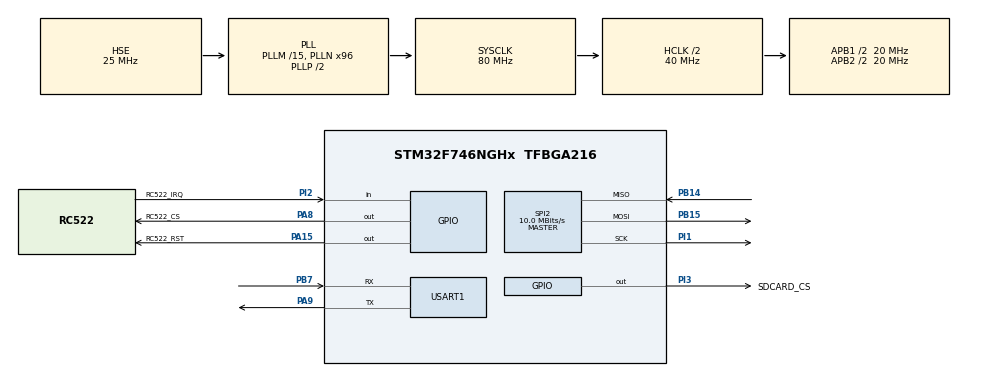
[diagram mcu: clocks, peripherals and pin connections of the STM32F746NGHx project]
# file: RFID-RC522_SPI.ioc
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CORTEX_M7.ART_ACCELERATOR_ENABLE=0
CORTEX_M7.CPU_DCache=Disabled
CORTEX_M7.CPU_ICache=Disabled
CORTEX_M7.PREFETCH_ENABLE=0
FATFS._MAX_SS=4096
FATFS._USE_LFN=1
Mcu.Family=STM32F7
Mcu.Name=STM32F746NGHx
Mcu.Package=TFBGA216
NVIC.PriorityGroup=NVIC_PRIORITYGROUP_4
PA13.Mode=Serial_Wire
PA13.Signal=SYS_JTMS-SWDIO
PA14.Mode=Serial_Wire
PA14.Signal=SYS_JTCK-SWCLK
PA15.GPIO_Label=RC522_RST
PA15.PinState=GPIO_PIN_SET
PA15.Signal=GPIO_Output
PA8.GPIO_Label=RC522_CS
PA8.GPIO_Speed=GPIO_SPEED_FREQ_MEDIUM
PA8.PinState=GPIO_PIN_SET
PA8.Signal=GPIO_Output
PA9.Mode=Asynchronous
PA9.Signal=USART1_TX
PB14.Mode=Full_Duplex_Master
PB14.Signal=SPI2_MISO
PB15.Mode=Full_Duplex_Master
PB15.Signal=SPI2_MOSI
PB7.Mode=Asynchronous
PB7.Signal=USART1_RX
PH0/OSC_IN.Mode=HSE-External-Oscillator
PH0/OSC_IN.Signal=RCC_OSC_IN
PH1/OSC_OUT.Mode=HSE-External-Oscillator
PH1/OSC_OUT.Signal=RCC_OSC_OUT
PI1.Mode=Full_Duplex_Master
PI1.Signal=SPI2_SCK
PI2.GPIO_Label=RC522_IRQ
PI2.Signal=GPIO_Input
PI3.GPIO_Label=SDCARD_CS
PI3.GPIO_Speed=GPIO_SPEED_FREQ_MEDIUM
PI3.PinState=GPIO_PIN_SET
PI3.Signal=GPIO_Output
ProjectManager.HeapSize=0x200
ProjectManager.StackSize=0x400
ProjectManager.TargetToolchain=STM32CubeIDE
RCC.AHBCLKDivider=RCC_SYSCLK_DIV2
RCC.AHBFreq_Value=40000000
RCC.APB1CLKDivider=RCC_HCLK_DIV2
RCC.APB1Freq_Value=20000000
RCC.APB1TimFreq_Value=40000000
RCC.APB2CLKDivider=RCC_HCLK_DIV2
RCC.APB2Freq_Value=20000000
RCC.APB2TimFreq_Value=40000000
RCC.CortexFreq_Value=40000000
RCC.HCLKFreq_Value=40000000
RCC.HSE_VALUE=25000000
RCC.HSI_VALUE=16000000
RCC.LSE_VALUE=32768
RCC.PLLI2SN=96
RCC.PLLM=15
RCC.PLLN=96
RCC.PLLSourceVirtual=RCC_PLLSOURCE_HSE
RCC.SYSCLKFreq_VALUE=80000000
RCC.SYSCLKSource=RCC_SYSCLKSOURCE_PLLCLK
RCC.USBFreq_Value=80000000
RCC.VCOOutputFreq_Value=160000000
SPI2.BaudRatePrescaler=SPI_BAUDRATEPRESCALER_2
SPI2.CalculateBaudRate=10.0 MBits/s
SPI2.DataSize=SPI_DATASIZE_8BIT
SPI2.Direction=SPI_DIRECTION_2LINES
SPI2.Mode=SPI_MODE_MASTER
SPI2.VirtualType=VM_MASTER
USART1.VirtualMode-Asynchronous=VM_ASYNC
VP_CRC_VS_CRC.Mode=CRC_Activate
VP_DMA2D_VS_DMA2D.Mode=DMA2D_Activate
VP_FATFS_VS_Generic.Mode=User_defined
board=STM32F746G-DISCO

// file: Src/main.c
/* USER CODE BEGIN Header */
/**
  ******************************************************************************
  * @file           : main.c
  * @brief          : Main program body
  ******************************************************************************
  * @attention
  *
  * Copyright (c) 2023 STMicroelectronics.
  * All rights reserved.
  *
  * This software is licensed under terms that can be found in the LICENSE file
  * in the root directory of this software component.
  * If no LICENSE file comes with this software, it is provided AS-IS.
  *
  ******************************************************************************
  */
/* USER CODE END Header */
#include "main.h"
#include "crc.h"
#include "dma2d.h"
#include "fatfs.h"
#include "spi.h"
#include "usart.h"
#include "gpio.h"

/* USER CODE BEGIN Includes */
#include "rc522.h"
/* USER CODE END Includes */

/* USER CODE BEGIN PTD */
typedef enum
{
  STAT_KEY_NOT_TRUE = 0x00,
  STAT_KEY_A_OK = 0x01,
  STAT_KEY_B_OK = 0x02
} StatusAuthenticate;
/* USER CODE END PTD */

/* USER CODE BEGIN PD */
#define PICC_MEMORY_SIZE 1024
#define PICC_MEMORY_BLOCK_SIZE 16
#define PICC_MEMORY_BLOCKS (PICC_MEMORY_SIZE / PICC_MEMORY_BLOCK_SIZE)

#define USE_TEST1 0 // Check firmware RC522
#define USE_TEST2 0 // Dump Uid, SAK and Type
#define USE_TEST3 0 // Dump full data to serial
#define USE_TEST4 0 // Change Uid
#define USE_TEST5 0 // Fix a broken Uid
#define USE_TEST6 0 // Setup blocks on a MIFARE Classic
#define USE_TEST7 1 // RFID-Cloner
#define USE_TEST8 0 // Read and Write
#define USE_TEST9 0 // Write personal data
#define USE_TEST10 0 // Read personal data
/* USER CODE END PD */

/* USER CODE BEGIN PV */
// Known keys, see: https://code.google.com/p/mfcuk/wiki/MifareClassicDefaultKeys
const uint8_t knownKeys[][MF_KEY_SIZE] =  {
  {0xFF, 0xFF, 0xFF, 0xFF, 0xFF, 0xFF}, // FF FF FF FF FF FF = factory default
  {0xA0, 0xA1, 0xA2, 0xA3, 0xA4, 0xA5}, // A0 A1 A2 A3 A4 A5
  {0xB0, 0xB1, 0xB2, 0xB3, 0xB4, 0xB5}, // B0 B1 B2 B3 B4 B5
  {0x4D, 0x3A, 0x99, 0xC3, 0x51, 0xDD}, // 4D 3A 99 C3 51 DD
  {0x1A, 0x98, 0x2C, 0x7E, 0x45, 0x9A}, // 1A 98 2C 7E 45 9A
  {0xD3, 0xF7, 0xD3, 0xF7, 0xD3, 0xF7}, // D3 F7 D3 F7 D3 F7
  {0xAA, 0xBB, 0xCC, 0xDD, 0xEE, 0xFF}, // AA BB CC DD EE FF
  {0x00, 0x00, 0x00, 0x00, 0x00, 0x00}, // 00 00 00 00 00 00
  {0xE5, 0x6A, 0xC1, 0x27, 0xDD, 0x45}, // E5 6A C1 27 DD 45
  {0x19, 0xFC, 0x84, 0xA3, 0x78, 0x4B}, // 19 FC 84 A3 78 4B
  {0x77, 0xDA, 0xBC, 0x98, 0x25, 0xE1}, // 77 DA BC 98 25 E1
  {0x26, 0x97, 0x3E, 0xA7, 0x43, 0x21}, // 26 97 3E A7 43 21
  {0xEB, 0x0A, 0x8F, 0xF8, 0x8A, 0xDE}, // EB 0A 8F F8 8A DE
  {0xEA, 0x0F, 0xD7, 0x3C, 0xB1, 0x49}, // EA 0F D7 3C B1 49
  {0xC7, 0x6B, 0xF7, 0x1A, 0x25, 0x09}, // C7 6B F7 1A 25 09
  {0xAC, 0xFF, 0xFF, 0xFF, 0xFF, 0xFF}, // AC FF FF FF FF FF
  {0x71, 0xF3, 0xA3, 0x15, 0xAD, 0x26}, // 71 F3 A3 15 AD 26
  {0x72, 0xF9, 0x6B, 0xDD, 0x37, 0x14}, // 72 F9 6B DD 37 14
  {0x04, 0x4C, 0xE1, 0x87, 0x2B, 0xC3}, // 04 4C E1 87 2B C3
  {0xBC, 0x2D, 0x17, 0x91, 0xDE, 0xC1}, // BC 2D 17 91 DE C1
  {0x87, 0x91, 0xB2, 0xCC, 0xB5, 0xC4}, // 87 91 B2 CC B5 C4
  {0x8E, 0x26, 0xE4, 0x5E, 0x7D, 0x65}, // 8E 26 E4 5E 7D 65
  {0x0F, 0x31, 0x81, 0x30, 0xED, 0x18}, // 0F 31 81 30 ED 18
  {0x04, 0x5C, 0xEC, 0xA1, 0x55, 0x35}, // 04 5C EC A1 55 35
  {0x9D, 0x99, 0x3C, 0x5D, 0x4E, 0xF4}, // 9D 99 3C 5D 4E F4
  {0xC6, 0x5D, 0x4E, 0xAA, 0x64, 0x5B}, // C6 5D 4E AA 64 5B
  {0x3A, 0x8A, 0x13, 0x9C, 0x20, 0xB4}, // 3A 8A 13 9C 20 B4
  {0xBA, 0xFF, 0x30, 0x53, 0xB4, 0x96}, // BA FF 30 53 B4 96
  {0x74, 0x13, 0xB5, 0x99, 0xC4, 0xEA}, // 74 13 B5 99 C4 EA
  {0x0C, 0xE7, 0xCD, 0x2C, 0xC7, 0x2B}, // 0C E7 CD 2C C7 2B
  {0x0B, 0xE5, 0xFA, 0xC8, 0xB0, 0x6A}, // 0B E5 FA C8 B0 6A
  {0x0E, 0xB2, 0x3C, 0xC8, 0x11, 0x0B}, // 0E B2 3C C8 11 0B
  {0xBC, 0x45, 0x80, 0xB7, 0xF2, 0x0B}, // BC 45 80 B7 F2 0B
  {0x7A, 0x39, 0x6F, 0x0D, 0x63, 0x3D}, // 7A 39 6F 0D 63 3D
  {0xA3, 0xFA, 0xA6, 0xDA, 0xFF, 0x67}, // A3 FA A6 DA FF 67
  {0xFD, 0x87, 0x05, 0xE7, 0x21, 0xB0}, // FD 87 05 E7 21 B0
  {0x22, 0x05, 0x2B, 0x48, 0x0D, 0x11}, // 22 05 2B 48 0D 11
  {0xA7, 0x14, 0x11, 0x47, 0xD4, 0x30}, // A7 14 11 47 D4 30
  {0x8A, 0x8D, 0x88, 0x15, 0x1A, 0x00}, // 8A 8D 88 15 1A 00
  {0xB2, 0x7A, 0xDD, 0xFB, 0x64, 0xB0}, // B2 7A DD FB 64 B0
  {0x72, 0x59, 0xFA, 0x01, 0x97, 0xC6}  // 72 59 FA 01 97 C6
};
/* USER CODE END PV */

void SystemClock_Config(void);
/* USER CODE BEGIN PFP */
void CheckFirmwareRC522(void);
void Test2_ReadDataFromPiccToSerial(void);
void Test3_ReadFullDataFromPiccToSerial(void);
void PrintUidAndType(void);
void Test4_ChangeUid(const MIFARE_Key *key);
void Test5_FixABrokenUid(void);
void Test6_SetupBlocksOnMIFARE(const MIFARE_Key *key);
void DumpByteArrayHEX(uint8_t *buffer, size_t bufferSize);
void FormatValueBlock(uint8_t blockAddr);
void Test7_RFID_Cloner(void);
void ReadCard(uint8_t dataValue[PICC_MEMORY_BLOCKS][PICC_MEMORY_BLOCK_SIZE]);
void TestValuesInBlocks(uint8_t dataValue[PICC_MEMORY_BLOCKS][PICC_MEMORY_BLOCK_SIZE]);
void CopyDataInTheNewCard(uint8_t dataValue[PICC_MEMORY_BLOCKS][PICC_MEMORY_BLOCK_SIZE]);
void Test8_ReadAndWrite(MIFARE_Key *key);
void Test9_WritePersonalData(MIFARE_Key *key);
void Test10_ReadPersonalData(MIFARE_Key *key);
/* USER CODE END PFP */

int main(void)
{

  /* MCU Configuration--------------------------------------------------------*/

  /* Reset of all peripherals, Initializes the Flash interface and the Systick. */
  HAL_Init();

  /* Configure the system clock */
  SystemClock_Config();

  /* Initialize all configured peripherals */
  MX_GPIO_Init();
  MX_DMA2D_Init();
  MX_CRC_Init();
  MX_USART1_UART_Init();
  MX_SPI2_Init();
  MX_FATFS_Init();
  /* USER CODE BEGIN 2 */
  const bool isInitRC522Ok = RC522_Init();
  MIFARE_Key key;

  if (isInitRC522Ok)
  {
#if USE_TEST1
    CheckFirmwareRC522();
#endif // USE_TEST1

#if USE_TEST2
    RC522_DumpVersionToSerial(); // Show details of PCD - MFRC522 Card Reader details.
    println("Scan PICC to see UID, SAK, and type");
#endif // USE_TEST2

#if USE_TEST3
    RC522_DumpVersionToSerial(); // Show details of PCD - MFRC522 Card Reader details.
    println("Scan PICC to see UID, SAK, type, and data blocks...");
#endif // USE_TEST3

#if USE_TEST4 || USE_TEST5
    // I had no success with this tests.
    // I haven't a card that allows to overwrite the UID
    println("Warning: this example overwrites the UID of your UID changeable card, use with care!");
    println("This example only works with MIFARE Classic cards.");

    // Prepare key - all keys are set to FFFFFFFFFFFFh at chip delivery from the factory.
    for (size_t i = 0; i < MF_KEY_SIZE; i++)
    {
      key.keyByte[i] = 0xFF;
    }
#endif // USE_TEST4 || USE_TEST5

#if USE_TEST6
    // Prepare key - all keys are set to FFFFFFFFFFFFh at chip delivery from the factory.
    for (size_t i = 0; i < MF_KEY_SIZE; i++)
    {
      key.keyByte[i] = 0xFF;
    }

    println("Scan a MIFARE Classic PICC to demonstrate Value Block mode.");
    printf("Using key (for A and B):");
    DumpByteArrayHEX(key.keyByte, MF_KEY_SIZE);
    println(NULL);

    println("BEWARE: Data will be written to the PICC, in sector #1");
#endif // USE_TEST6

#if USE_TEST7
    println("Try the most used default keys to print block 0 to 63 of a MIFARE PICC.");
    println("1.Read card \r\n2.View buffer \r\n3.Copy the data.");
#endif // USE_TEST7

#if USE_TEST8
    // Prepare key - all keys are set to FFFFFFFFFFFFh at chip delivery from the factory.
    for (size_t i = 0; i < MF_KEY_SIZE; i++)
    {
      key.keyByte[i] = 0xFF;
    }

    println("Scan a MIFARE Classic PICC to demonstrate read and write.");
    printf("Using key(for A and B) :");
    DumpByteArrayHEX(key.keyByte, MF_KEY_SIZE);
    println(NULL);
    println("BEWARE: Data will be written to the PICC, in sector #1");
#endif // USE_TEST8

#if USE_TEST9
    // Prepare key - all keys are set to FFFFFFFFFFFFh at chip delivery from the factory.
    for (size_t i = 0; i < MF_KEY_SIZE; i++)
    {
      key.keyByte[i] = 0xFF;
    }

    println("Write personal data on a MIFARE PICC:");
#endif // USE_TEST9

#if USE_TEST10
    // Prepare key - all keys are set to FFFFFFFFFFFFh at chip delivery from the factory.
    for (size_t i = 0; i < MF_KEY_SIZE; i++)
    {
      key.keyByte[i] = 0xFF;
    }

    println("Read personal data on a MIFARE PICC:");
#endif // USE_TEST10
  }
  /* USER CODE END 2 */

  /* Infinite loop */
  /* USER CODE BEGIN WHILE */
  while (1)
  {
    if (isInitRC522Ok)
    {
#if USE_TEST2
      Test2_ReadDataFromPiccToSerial();
#endif // USE_TEST2

#if USE_TEST3
      Test3_ReadFullDataFromPiccToSerial();
#endif // USE_TEST3

#if USE_TEST4
      Test4_ChangeUid(&key);
#endif // USE_TEST4

#if USE_TEST5
      Test5_FixABrokenUid();
#endif // USE_TEST5

#if USE_TEST6
      Test6_SetupBlocksOnMIFARE(&key);
#endif // USE_TEST6

#if USE_TEST7
      Test7_RFID_Cloner();
#endif // USE_TEST7

#if USE_TEST8
      Test8_ReadAndWrite(&key);
#endif // USE_TEST8

#if USE_TEST9
      Test9_WritePersonalData(&key);
#endif // USE_TEST9

#if USE_TEST10
      Test10_ReadPersonalData(&key);
#endif // USE_TEST10
    }
    /* USER CODE END WHILE */

  }
}

void SystemClock_Config(void)
{
  RCC_OscInitTypeDef RCC_OscInitStruct = {0};
  RCC_ClkInitTypeDef RCC_ClkInitStruct = {0};

  /** Configure the main internal regulator output voltage
  */
  __HAL_RCC_PWR_CLK_ENABLE();
  __HAL_PWR_VOLTAGESCALING_CONFIG(PWR_REGULATOR_VOLTAGE_SCALE3);

  /** Initializes the RCC Oscillators according to the specified parameters
  * in the RCC_OscInitTypeDef structure.
  */
  RCC_OscInitStruct.OscillatorType = RCC_OSCILLATORTYPE_HSE;
  RCC_OscInitStruct.HSEState = RCC_HSE_ON;
  RCC_OscInitStruct.PLL.PLLState = RCC_PLL_ON;
  RCC_OscInitStruct.PLL.PLLSource = RCC_PLLSOURCE_HSE;
  RCC_OscInitStruct.PLL.PLLM = 15;
  RCC_OscInitStruct.PLL.PLLN = 96;
  RCC_OscInitStruct.PLL.PLLP = RCC_PLLP_DIV2;
  RCC_OscInitStruct.PLL.PLLQ = 2;
  if (HAL_RCC_OscConfig(&RCC_OscInitStruct) != HAL_OK)
  {
    Error_Handler();
  }

  /** Initializes the CPU, AHB and APB buses clocks
  */
  RCC_ClkInitStruct.ClockType = RCC_CLOCKTYPE_HCLK|RCC_CLOCKTYPE_SYSCLK
                              |RCC_CLOCKTYPE_PCLK1|RCC_CLOCKTYPE_PCLK2;
  RCC_ClkInitStruct.SYSCLKSource = RCC_SYSCLKSOURCE_PLLCLK;
  RCC_ClkInitStruct.AHBCLKDivider = RCC_SYSCLK_DIV2;
  RCC_ClkInitStruct.APB1CLKDivider = RCC_HCLK_DIV2;
  RCC_ClkInitStruct.APB2CLKDivider = RCC_HCLK_DIV2;

  if (HAL_RCC_ClockConfig(&RCC_ClkInitStruct, FLASH_LATENCY_1) != HAL_OK)
  {
    Error_Handler();
  }
}

/* USER CODE BEGIN 4 */

/**
  * @brief Example to test your firmware.
  *
  * This example test the firmware of your MFRC522 reader module, only known version
  * can be checked. If the test passed it do not mean that your module is faultless!
  * Some modules have bad or broken antennas or the PICC is broken.
  */
void CheckFirmwareRC522(void)
{
  println("*****************************");
  println("MFRC522 Digital self test");
  println("*****************************");
  RC522_DumpVersionToSerial(); // Show version of PCD - MFRC522 Card Reader
  println("-----------------------------");
  println("Only known versions supported");
  println("-----------------------------");
  println("Performing test...");
  const bool result = RC522_PerformSelfTest(); // perform the test
  println("-----------------------------");
  printf("Result: ");
  println((result) ? "OK" : "DEFECT or UNKNOWN");
}

/**
  * @brief Example showing how to read data from a PICC to serial.
  *
  * Example program showing how to read data from a PICC (that is: a RFID Tag or Card)
  * using a MFRC522 based RFID Reader.
  *
  * When you present a PICC (that is: a RFID Tag or Card) at reading distance of
  * the MFRC522 Reader, the serial output will show the ID/UID, type and any data
  * blocks it can read. Note: you may see "Timeout in communication" messages when
  * removing the PICC from reading distance too early.
  *
  * If your reader supports it, this program will read all the PICCs presented
  * (that is: multiple tag reading). So if you stack two or more PICCs on top of
  * each other and present them to the reader, it will first output all details of
  * the first and then the next PICC. Note that this may take some time as all data
  * blocks are dumped, so keep the PICCs at reading distance until complete.
  */
void Test2_ReadDataFromPiccToSerial(void)
{
  if (RC522_PICC_IsNewCardPresent() && RC522_PICC_ReadCardUid())
  {
    PrintUidAndType();
  }
}

void Test3_ReadFullDataFromPiccToSerial(void)
{
  if (RC522_PICC_IsNewCardPresent() && RC522_PICC_ReadCardUid())
  {
    RC522_PICC_DumpToSerial();
  }
}

/**
  * @brief Example showing how to read data from PICC to serial.
  */
void PrintUidAndType(void)
{
  RC522_PICC_DumpDetailsToSerial();

  // Halt PICC.
  RC522_PICC_HaltA();
  // Stop encryption on PCD.
  RC522_StopCrypto1();
}

/**
  * @brief Example to change UID of changeable MIFARE card.
  *
  * This sample shows how to set the UID on a UID changeable MIFARE card.
  */
void Test4_ChangeUid(const MIFARE_Key *key)
{
  /* Set your new UID here! */
  const uint8_t newUid[] = { 0xDE, 0xAD, 0xBE, 0xEF };

  // Reset the loop if no new card present on the sensor/reader.
  // This saves the entire process when idle. And if present, select one.
  if (!RC522_PICC_IsNewCardPresent() || !RC522_PICC_ReadCardUid())
  {
    return;
  }

  // Dump UID.
  printf("Card UID:");
  RC522_PrintUID();
  println(NULL);

  // Set new UID.
  if (RC522_MIFARE_SetUid(newUid, sizeof(newUid), key, true))
  {
    println("Wrote new UID to card.");
  }

  // Halt PICC and re-select it so DumpToSerial doesn't get confused.
  RC522_PICC_HaltA();
  if (!RC522_PICC_IsNewCardPresent() || !RC522_PICC_ReadCardUid())
  {
    return;
  }

  // Dump the new memory contents.
  println("New UID and contents:");
  RC522_PICC_DumpToSerial();

  HAL_Delay(2000);
}

/**
  * @brief Example to fix a broken UID changeable MIFARE cards.
  *
  * This sample shows how to fix a broken UID changeable MIFARE cards that have a corrupted sector 0.
  */
void Test5_FixABrokenUid(void)
{
  // Reset the loop if no new card present on the sensor/reader.
  // This saves the entire process when idle. And if present, select one.
  if (!RC522_PICC_IsNewCardPresent() || !RC522_PICC_ReadCardUid())
  {
    return;
  }

  if (RC522_MIFARE_UnbrickUidSector())
  {
    println("Cleared sector 0, set UID to 1234. Card should be responsive again now.");
  }
  HAL_Delay(1000);
}

/**
* This sample shows how to setup blocks on a MIFARE Classic PICC(= card / tag)
* to be in "Value Block" mode : in this mode the operations Increment / Decrement,
* Restore and Transfer can be used.
*
* BEWARE : Data will be written to the PICC, in sector # 1(blocks # 4 to # 7).
*/
void Test6_SetupBlocksOnMIFARE(const MIFARE_Key *key)
{
  // Reset the loop if no new card present on the sensor/reader.
  // This saves the entire process when idle. And if present, select one.
  if (!RC522_PICC_IsNewCardPresent() || !RC522_PICC_ReadCardUid())
  {
    return;
  }

  // Show some details of the PICC (that is: the tag/card)
  printf("Card UID:");
  RC522_PrintUID();
  println(NULL);
  const PICC_Type piccType = RC522_PICC_GetType();
  printf("PICC type: ");
  println(RC522_PICC_GetTypeName(piccType));

  // Check for compatibility
  if (piccType != PICC_TYPE_MIFARE_MINI
      &&  piccType != PICC_TYPE_MIFARE_1K
      &&  piccType != PICC_TYPE_MIFARE_4K)
  {
    println("This sample only works with MIFARE Classic cards.");
    return;
  }

  // In this sample we use the second sector,
  // that is: sector #1, covering block #4 up to and including block #7
  const uint8_t sector         = 1;
  const uint8_t valueBlockA    = 5;
  const uint8_t valueBlockB    = 6;
  const uint8_t trailerBlock   = 7;

  println("Authenticating using key A...");
  StatusCode status = RC522_Authenticate(PICC_CMD_MF_AUTH_KEY_A, trailerBlock, key);
  if (status != STAT_OK)
  {
    printf("RC522_Authenticate() failed: ");
    println(RC522_GetStatusCodeName(status));
    return;
  }

  // Show the whole sector as it currently is
  println("Current data in sector:");
  RC522_PICC_DumpMifareClassicSectorToSerial(key, sector);
  println(NULL);

  // We need a sector trailer that defines blocks 5 and 6 as Value Blocks and enables key B
  // The last block in a sector (block #3 for Mifare Classic 1K) is the Sector Trailer.
  // See http://www.nxp.com/documents/data_sheet/MF1S503x.pdf sections 8.6 and 8.7:
  //      Bytes 0-5:   Key A
  //      Bytes 6-8:   Access Bits
  //      Bytes 9:     User data
  //      Bytes 10-15: Key B (or user data)
  uint8_t trailerBuffer[] = {
        255, 255, 255, 255, 255, 255,       // Keep default key A
        0, 0, 0,
        0,
        255, 255, 255, 255, 255, 255};      // Keep default key B
// The access bits are stored in a peculiar fashion.
// There are four groups:
//      g[0]    Access bits for block 0 (for sectors 0-31)
//              or blocks 0-4 (for sectors 32-39)
//      g[1]    Access bits for block 1 (for sectors 0-31)
//              or blocks 5-9 (for sectors 32-39)
//      g[2]    Access bits for block 2 (for sectors 0-31)
//              or blocks 10-14 (for sectors 32-39)
//      g[3]    Access bits for the Sector Trailer: block 3 (for sectors 0-31)
//              or block 15 (for sectors 32-39)
// Each group has access bits [C1 C2 C3], in this code C1 is MSB and C3 is LSB.
// Determine the bit pattern needed using MIFARE_SetAccessBits:
//      g0=0    access bits for block 0 (of this sector) using [0 0 0] = 000b = 0
//              which means key A|B have r/w for block 0 of this sector
//              which (in this example) translates to block #4 within sector #1;
//              this is the transport configuration (at factory delivery).
//      g1=6    access bits for block 1 (of this sector) using [1 1 0] = 110b = 6
//              which means block 1 (of this sector) is used as a value block,
//              which (in this example) translates to block #5 within sector #1;
//              where key A|B have r, key B has w, key B can increment,
//              and key A|B can decrement, transfer, and restore.
//      g2=6    same thing for block 2 (of this sector): set it to a value block;
//              which (in this example) translates to block #6 within sector #1;
//      g3=3    access bits for block 3 (of this sector): the Sector Trailer here;
//              using [0 1 1] = 011b = 3 which means only key B has r/w access
//              to the Sector Trailer (block 3 of this sector) from now on
//              which (in this example) translates to block #7 within sector #1;
  RC522_MIFARE_CalculateAccessBits(&trailerBuffer[6], 0, 6, 6, 3);

  // Read the sector trailer as it is currently stored on the PICC
  println("Reading sector trailer...");
  uint8_t buffer[18];
  uint8_t size = sizeof(buffer);
  status = RC522_MIFARE_Read(trailerBlock, buffer, &size);
  if (status != STAT_OK)
  {
    printf("RC522_MIFARE_Read() failed: ");
    println(RC522_GetStatusCodeName(status));
    return;
  }
  // Check if it matches the desired access pattern already;
  // because if it does, we don't need to write it again...
  if (buffer[6] != trailerBuffer[6]
      ||  buffer[7] != trailerBuffer[7]
      ||  buffer[8] != trailerBuffer[8])
  {
    // They don't match (yet), so write it to the PICC
    println("Writing new sector trailer...");
    status = RC522_MIFARE_Write(trailerBlock, trailerBuffer, PICC_MEMORY_BLOCK_SIZE);
    if (status != STAT_OK)
    {
      printf("RC522_MIFARE_Write() failed: ");
      println(RC522_GetStatusCodeName(status));
      return;
    }
  }

  println("Authenticating again using key B...");
  status = RC522_Authenticate(PICC_CMD_MF_AUTH_KEY_B, trailerBlock, key);
  if (status != STAT_OK)
  {
    printf("RC522_Authenticate() failed: ");
    println(RC522_GetStatusCodeName(status));
    return;
  }

  // A value block has a 32 bit signed value stored three times
  // and an 8 bit address stored 4 times. Make sure that valueBlockA
  // and valueBlockB have that format (note that it will only format
  // the block when it doesn't comply to the expected format already).
  FormatValueBlock(valueBlockA);
  FormatValueBlock(valueBlockB);

  // Add 1 to the value of valueBlockA and store the result in valueBlockA.
  println("Adding 1 to value of block %u", valueBlockA);
  status = RC522_MIFARE_Increment(valueBlockA, 1);
  if (status != STAT_OK)
  {
    printf("RC522_MIFARE_Increment() failed: ");
    println(RC522_GetStatusCodeName(status));
    return;
  }
  status = RC522_MIFARE_Transfer(valueBlockA);
  if (status != STAT_OK)
  {
    printf("RC522_MIFARE_Transfer() failed: ");
    println(RC522_GetStatusCodeName(status));
    return;
  }
  // Show the new value of valueBlockA
  int32_t value;
  status = RC522_MIFARE_GetValue(valueBlockA, &value);
  if (status != STAT_OK)
  {
    printf("RC522_MIFARE_GetValue() failed: ");
    println(RC522_GetStatusCodeName(status));
    return;
  }
  println("New value of value block %u = %li", valueBlockA, value);

  // Decrement 10 from the value of valueBlockB and store the result in valueBlockB.
  println("Subtracting 10 from value of block %u", valueBlockB);
  status = RC522_MIFARE_Decrement(valueBlockB, 10);
  if (status != STAT_OK)
  {
    printf("RC522_MIFARE_Decrement() failed: ");
    println(RC522_GetStatusCodeName(status));
    return;
  }
  status = RC522_MIFARE_Transfer(valueBlockB);
  if (status != STAT_OK)
  {
    printf("RC522_MIFARE_Transfer() failed: ");
    println(RC522_GetStatusCodeName(status));
    return;
  }
  // Show the new value of valueBlockB
  status = RC522_MIFARE_GetValue(valueBlockB, &value);
  if (status != STAT_OK)
  {
    printf("RC522_MIFARE_GetValue() failed: ");
    println(RC522_GetStatusCodeName(status));
    return;
  }
  println("New value of value block %u = %li", valueBlockB, value);
  // Check some boundary...
  if (value <= -100)
  {
    println("Below -100, so resetting it to 255 = 0xFF just for fun...");
    status = RC522_MIFARE_SetValue(valueBlockB, 255);
    if (status != STAT_OK)
    {
      printf("RC522_MIFARE_SetValue() failed: ");
      println(RC522_GetStatusCodeName(status));
      return;
    }
  }

  // Dump the sector data
  RC522_PICC_DumpMifareClassicSectorToSerial(key, sector);
  println(NULL);

  // Halt PICC
  RC522_PICC_HaltA();
  // Stop encryption on PCD
  RC522_StopCrypto1();
}

/**
 * Helper routine to dump a byte array as HEX values to Serial.
 */
void DumpByteArrayHEX(uint8_t *buffer, size_t bufferSize)
{
  for (size_t i = 0; i < bufferSize; i++)
  {
    printf("%02X ", buffer[i]);
  }
}

/**
 * Helper routine to dump a byte array as ASCI values to Serial.
 */
void DumpByteArrayASCI(uint8_t *buffer, size_t bufferSize)
{
  for (size_t i = 0; i < bufferSize; i++)
  {
    printf("%c", ((buffer[i] < ' ') || (buffer[i] > '~')) ? '.' : buffer[i]);
  }
}

/**
 * Ensure that a given block is formatted as a Value Block.
 */
void FormatValueBlock(uint8_t blockAddr)
{
  uint8_t buffer[18];
  uint8_t size = sizeof(buffer);

  println("Reading block %u", blockAddr);
  StatusCode status = RC522_MIFARE_Read(blockAddr, buffer, &size);
  if (status != STAT_OK)
  {
    printf("RC522_MIFARE_Read() failed: ");
    println(RC522_GetStatusCodeName(status));
    return;
  }

  if (  (buffer[0] == (uint8_t)~buffer[4])
    &&  (buffer[1] == (uint8_t)~buffer[5])
    &&  (buffer[2] == (uint8_t)~buffer[6])
    &&  (buffer[3] == (uint8_t)~buffer[7])

    &&  (buffer[0] == buffer[8])
    &&  (buffer[1] == buffer[9])
    &&  (buffer[2] == buffer[10])
    &&  (buffer[3] == buffer[11])

    &&  (buffer[12] == (uint8_t)~buffer[13])
    &&  (buffer[12] ==           buffer[14])
    &&  (buffer[12] == (uint8_t)~buffer[15]))
  {
    println("Block has correct Value Block format.");
  }
  else
  {
    println("Formatting as Value Block...");
    const uint8_t valueBlock[] = {
      0, 0, 0, 0,
      255, 255, 255, 255,
      0, 0, 0, 0,
      blockAddr, ~blockAddr, blockAddr, ~blockAddr };
    status = RC522_MIFARE_Write(blockAddr, valueBlock, PICC_MEMORY_BLOCK_SIZE);
    if (status != STAT_OK)
    {
      printf("MIFARE_Write() failed: ");
      println(RC522_GetStatusCodeName(status));
    }
  }
}

/**
  * @brief Copy the RFID card data into variables and then
  *        scan the second empty card to copy all the data.
  *
  * Example sketch/program which will try the most used default keys listed in
  * https://code.google.com/p/mfcuk/wiki/MifareClassicDefaultKeys to dump the
  * block 0 of a MIFARE RFID card using a RFID-RC522 reader.
  */
void Test7_RFID_Cloner(void)
{
  static uint8_t dataValue[PICC_MEMORY_BLOCKS][PICC_MEMORY_BLOCK_SIZE];
  static char choice;
  scanf("%c", &choice);

  if (choice == '1')
  {
    println("Read the card");
    ReadCard(dataValue);
  }
  else if (choice == '2')
  {
    println("See what is in the variables");
    TestValuesInBlocks(dataValue);
  }
  else if (choice == '3')
  {
    println("Copying the data on to the new card");
    CopyDataInTheNewCard(dataValue);
  }
}

static void ResetAfterWrongAuthenticate(void)
{
  // http://arduino.stackexchange.com/a/14316
  if (!RC522_PICC_IsNewCardPresent() || !RC522_PICC_SelectCardWithLastUid())
  {
    println("Insert card and try again!");
  }
}

static StatusAuthenticate TryKey(const uint8_t blockAddr, MIFARE_Key *key, const StatusAuthenticate previousStatus)
{
  StatusAuthenticate result = STAT_KEY_NOT_TRUE;
  if ((previousStatus & STAT_KEY_A_OK) == 0)
  {
    const StatusCode status = RC522_Authenticate(PICC_CMD_MF_AUTH_KEY_A, blockAddr, key);
    if (status != STAT_OK)
    {
      ResetAfterWrongAuthenticate();
    }
    else
    {
      result |= STAT_KEY_A_OK;
    }
  }
  if ((previousStatus & STAT_KEY_B_OK) == 0)
  {
    const StatusCode status = RC522_Authenticate(PICC_CMD_MF_AUTH_KEY_B, blockAddr, key);
    if (status != STAT_OK)
    {
      ResetAfterWrongAuthenticate();
    }
    else
    {
      result |= STAT_KEY_B_OK;
    }
  }
  return result;
}

static StatusAuthenticate FindTheRightKeys(const uint8_t blockAddr, MIFARE_Key *keyA, MIFARE_Key *keyB)
{
  StatusAuthenticate resultOfAuthenticate = STAT_KEY_NOT_TRUE;
  const size_t numberOfKnownKeys = sizeof(knownKeys) / MF_KEY_SIZE;
  for (size_t k = 0; k < numberOfKnownKeys; k++)
  {
    MIFARE_Key key;
    for (size_t i = 0; i < MF_KEY_SIZE; i++)
    {
      key.keyByte[i] = knownKeys[k][i];
    }

    const StatusAuthenticate statusAuthenticate = TryKey(blockAddr, &key, resultOfAuthenticate);
    if (statusAuthenticate & STAT_KEY_A_OK)
    {
      resultOfAuthenticate |= STAT_KEY_A_OK;
      for (size_t i = 0; i < MF_KEY_SIZE; i++)
      {
        (*keyA).keyByte[i] = key.keyByte[i];
      }
    }
    if (statusAuthenticate & STAT_KEY_B_OK)
    {
      resultOfAuthenticate |= STAT_KEY_B_OK;
      for (size_t i = 0; i < MF_KEY_SIZE; i++)
      {
        (*keyB).keyByte[i] = key.keyByte[i];
      }
    }
    if ((resultOfAuthenticate & STAT_KEY_A_OK) && (resultOfAuthenticate & STAT_KEY_B_OK))
    {
      // Found and reported on the key and block,
      // no need to try other keys for this PICC
      break;
    }
  }
  return resultOfAuthenticate;
}

static StatusCode AuthenticateWithRightKeys(StatusAuthenticate resultOfAuthenticate,
  const uint8_t blockAddr, MIFARE_Key *keyA, MIFARE_Key *keyB)
{
  StatusCode status = STAT_ERROR;
  if (resultOfAuthenticate & STAT_KEY_A_OK)
  {
    status = RC522_Authenticate(PICC_CMD_MF_AUTH_KEY_A, blockAddr, keyA);
    if (status != STAT_OK)
    {
      return status;
    }
  }
  if (resultOfAuthenticate & STAT_KEY_B_OK)
  {
    status = RC522_Authenticate(PICC_CMD_MF_AUTH_KEY_B, blockAddr, keyB);
    if (status != STAT_OK)
    {
      return status;
    }
  }
  return status;
}

static void CopyDataFromBufferToDataValue(const uint8_t blockAddr, MIFARE_Key *keyA, MIFARE_Key *keyB,
  const StatusAuthenticate resultOfAuthenticate, uint8_t *buffer, uint8_t dataValue[PICC_MEMORY_BLOCKS][PICC_MEMORY_BLOCK_SIZE])
{
  if ((blockAddr != 0) && (((blockAddr + 1) % 4) == 0))
  {
    for (size_t i = 0; i < PICC_MEMORY_BLOCK_SIZE; i++)
    {
      if (i < 6)
      {
        dataValue[blockAddr][i] = (resultOfAuthenticate & STAT_KEY_A_OK) ? (*keyA).keyByte[i] : 0;
      }
      else if (i >= 10)
      {
        dataValue[blockAddr][i] = (resultOfAuthenticate & STAT_KEY_B_OK) ? (*keyB).keyByte[i - 10] : 0;
      }
      else
      {
        dataValue[blockAddr][i] = buffer[i];
      }
    }
  }
  else
  {
    for (size_t i = 0; i < PICC_MEMORY_BLOCK_SIZE; i++)
    {
      dataValue[blockAddr][i] = buffer[i];
    }
  }
}

static void PrintDataBlock(const uint8_t block,
  uint8_t dataValue[PICC_MEMORY_BLOCKS][PICC_MEMORY_BLOCK_SIZE],
  const StatusAuthenticate resultOfAuthenticate)
{
  if ((block % 4) == 0)
  {
    println("Sector: %u", block / 4);
  }
  printf("Block %2u: ", block);
  DumpByteArrayASCI(dataValue[block], PICC_MEMORY_BLOCK_SIZE);
  println(NULL);
  HAL_Delay(100);
  if (resultOfAuthenticate != STAT_KEY_NOT_TRUE)
  {
    printf("          ");
    if ((block != 0) && (((block + 1) % 4) == 0))
    {
      for (size_t i = 0; i < PICC_MEMORY_BLOCK_SIZE; i++)
      {
        if (i < 6)
        {
          if (resultOfAuthenticate & STAT_KEY_A_OK)
          {
            printf("%02X ", dataValue[block][i]);
          }
          else
          {
            printf("-- ");
          }
        }
        else if (i >= 10)
        {
          if (resultOfAuthenticate & STAT_KEY_B_OK)
          {
            printf("%02X ", dataValue[block][i]);
          }
          else
          {
            printf("-- ");
          }
        }
        else
        {
          printf("%02X ", dataValue[block][i]);
        }
      }
      println(NULL);
      println("          ===== Key A =====|= ACs ==|==|===== Key B =====");
    }
    else
    {
      DumpByteArrayHEX(dataValue[block], PICC_MEMORY_BLOCK_SIZE);
      println(NULL);
    }
  }
  HAL_Delay(100);
}

/*
 * Try using the PICC (the tag/card) with the given key to access block 0 to 63.
 * On success, it will show the key details, and dump the block data on Serial.
 *
 * @return true when the given key worked, false otherwise.
 */
static StatusCode getDataFromCard(uint8_t dataValue[PICC_MEMORY_BLOCKS][PICC_MEMORY_BLOCK_SIZE])
{
  MIFARE_Key keyA;
  MIFARE_Key keyB;
  StatusAuthenticate resultOfAuthenticate = STAT_KEY_NOT_TRUE;
  for (uint8_t block = 0; block < PICC_MEMORY_BLOCKS; block++)
  {
    if ((block % 4) == 0)
    {
      resultOfAuthenticate = FindTheRightKeys(block, &keyA, &keyB);
    }
    uint8_t buffer[18] = { 0 };
    if (resultOfAuthenticate != STAT_KEY_NOT_TRUE)
    {
      if ((block % 4) == 0)
      {
        const StatusCode status = AuthenticateWithRightKeys(resultOfAuthenticate, block, &keyA, &keyB);
        if (status != STAT_OK)
        {
          printf("AuthenticateWithRightKeys() failed: ");
          println(RC522_GetStatusCodeName(status));
        }
      }

      uint8_t byteCount = sizeof(buffer);
      const StatusCode status = RC522_MIFARE_Read(block, buffer, &byteCount);
      if (status != STAT_OK)
      {
        printf("RC522_MIFARE_Read() failed: ");
        println(RC522_GetStatusCodeName(status));
      }
    }
    CopyDataFromBufferToDataValue(block, &keyA, &keyB, resultOfAuthenticate, buffer, dataValue);
    PrintDataBlock(block, dataValue, resultOfAuthenticate);
  }

  return STAT_OK;
}

void ReadCard(uint8_t dataValue[PICC_MEMORY_BLOCKS][PICC_MEMORY_BLOCK_SIZE])
{
  // Look for new cards and select one of the cards
  if (!RC522_PICC_IsNewCardPresent() || !RC522_PICC_ReadCardUid())
  {
    println("Insert card and try again!");
    return;
  }

  // Show some details of the PICC (that is: the tag/card)
  printf("Card UID:");
  RC522_PrintUID();
  println(NULL);
  const PICC_Type piccType = RC522_PICC_GetType();
  printf("PICC type: ");
  println(RC522_PICC_GetTypeName(piccType));

  getDataFromCard(dataValue);

  println(NULL);
  println("1.Read card \r\n2.View buffer \r\n3.Copy the data.");

  RC522_PICC_HaltA(); // Halt PICC
  RC522_StopCrypto1(); // Stop encryption on RC522
}

void TestValuesInBlocks(uint8_t dataValue[PICC_MEMORY_BLOCKS][PICC_MEMORY_BLOCK_SIZE])
{
  for (uint8_t block = 4; block <= 62; block++)
  {
    if (((block + 1) % 4) == 0)
    {
      block++;
    }

    println("Writing data into block %u", block);

    DumpByteArrayHEX(dataValue[block], PICC_MEMORY_BLOCK_SIZE);
    println(NULL);
    println(NULL);
  }

  println("1.Read card \r\n2.View buffer \r\n3.Copy the data.");
}

void CopyDataInTheNewCard(uint8_t dataValue[PICC_MEMORY_BLOCKS][PICC_MEMORY_BLOCK_SIZE])
{
  println("Insert new card...");
  // Look for new cards and select one of the cards
  if (!RC522_PICC_IsNewCardPresent() || !RC522_PICC_ReadCardUid())
  {
    println("Insert card and try again!");
    return;
  }

  // Show some details of the PICC (that is: the tag/card)
  printf("Card UID:");
  RC522_PrintUID();
  println(NULL);
  const PICC_Type piccType = RC522_PICC_GetType();
  printf("PICC type: ");
  println(RC522_PICC_GetTypeName(piccType));

  MIFARE_Key key;
  for (size_t i = 0; i < 6; i++)
  {
    key.keyByte[i] = 0xFF;
  }

  for (uint8_t block = 4; block <= 62; block++)
  {
    // Copy blocks 4 to 62, except all of these below (because they are the authentication blocks)
    if (((block + 1) % 4) == 0)
    {
      block++;
    }

    println("Authenticating using key A...");
    StatusCode status = RC522_Authenticate(PICC_CMD_MF_AUTH_KEY_A, block, &key);
    if (status != STAT_OK)
    {
      printf("RC522_Authenticate() failed: ");
      println(RC522_GetStatusCodeName(status));
      return;
    }

    println("Authenticating again using key B...");
    status = RC522_Authenticate(PICC_CMD_MF_AUTH_KEY_B, block, &key);
    if (status != STAT_OK)
    {
      printf("RC522_Authenticate() failed: ");
      println(RC522_GetStatusCodeName(status));
      return;
    }

    println("Writing data into block %u", block);
    println(NULL);

    DumpByteArrayHEX(dataValue[block], PICC_MEMORY_BLOCK_SIZE);

    status = RC522_MIFARE_Write(block, dataValue[block], PICC_MEMORY_BLOCK_SIZE);
    if (status != STAT_OK)
    {
      printf("RC522_MIFARE_Write() failed: ");
      println(RC522_GetStatusCodeName(status));
    }

    println(NULL);
    println(NULL);
  }
  RC522_PICC_HaltA(); // Halt PICC
  RC522_StopCrypto1(); // Stop encryption on PCD

  println("1.Read card \r\n2.View buffer \r\n3.Copy the data.");
}

/*
 * This sample shows how to read and write data blocks on a MIFARE Classic PICC
 * (= card/tag).
 *
 * BEWARE: Data will be written to the PICC, in sector #1 (blocks #4 to #7).
 */
void Test8_ReadAndWrite(MIFARE_Key *key)
{
  // Look for new cards and select one of the cards
  if (!RC522_PICC_IsNewCardPresent() || !RC522_PICC_ReadCardUid())
  {
    return;
  }
  // Show some details of the PICC (that is: the tag/card)
  printf("Card UID:");
  RC522_PrintUID();
  println(NULL);
  const PICC_Type piccType = RC522_PICC_GetType();
  printf("PICC type: ");
  println(RC522_PICC_GetTypeName(piccType));

  // Check for compatibility
  if (piccType != PICC_TYPE_MIFARE_MINI
      &&  piccType != PICC_TYPE_MIFARE_1K
      &&  piccType != PICC_TYPE_MIFARE_4K)
  {
    println("This sample only works with MIFARE Classic cards.");
    return;
  }

  // In this sample we use the second sector,
  // that is: sector #1, covering block #4 up to and including block #7
  const uint8_t sector = 1;
  const uint8_t blockAddr = 4;
  uint8_t dataBlock[] = {
    0x01, 0x02, 0x03, 0x04, //  1,  2,   3,  4,
    0x05, 0x06, 0x07, 0x08, //  5,  6,   7,  8,
    0x09, 0x0A, 0xFF, 0x0B, //  9, 10, 255, 11,
    0x0C, 0x0D, 0x0E, 0x0F  // 12, 13,  14, 15
  };

  const uint8_t trailerBlock = 7;
  uint8_t buffer[18];
  uint8_t size = sizeof(buffer);

  // Authenticate using key A
  println("Authenticating using key A...");
  StatusCode status = RC522_Authenticate(PICC_CMD_MF_AUTH_KEY_A, trailerBlock, key);
  if (status != STAT_OK)
  {
    printf("RC522_Authenticate() failed: ");
    println(RC522_GetStatusCodeName(status));
    return;
  }

  // Show the whole sector as it currently is
  println("Current data in sector:");
  RC522_PICC_DumpMifareClassicSectorToSerial(key, sector);
  println(NULL);

  // Read data from the block
  println("Reading data from block %u ...", blockAddr);
  status = RC522_MIFARE_Read(blockAddr, buffer, &size);
  if (status != STAT_OK)
  {
    printf("RC522_MIFARE_Read() failed: ");
    println(RC522_GetStatusCodeName(status));
  }
  println("Data in block %u:", blockAddr);
  DumpByteArrayHEX(buffer, PICC_MEMORY_BLOCK_SIZE);
  println(NULL);
  println(NULL);

  // Authenticate using key B
  println("Authenticating again using key B...");
  status = RC522_Authenticate(PICC_CMD_MF_AUTH_KEY_B, trailerBlock, key);
  if (status != STAT_OK)
  {
    printf("RC522_Authenticate() failed: ");
    println(RC522_GetStatusCodeName(status));
    return;
  }

  // Write data to the block
  println("Writing data into block %u ...", blockAddr);
  DumpByteArrayHEX(dataBlock, PICC_MEMORY_BLOCK_SIZE);
  println(NULL);
  status = RC522_MIFARE_Write(blockAddr, dataBlock, PICC_MEMORY_BLOCK_SIZE);
  if (status != STAT_OK)
  {
    printf("RC522_MIFARE_Write() failed: ");
    println(RC522_GetStatusCodeName(status));
  }
  println(NULL);

  // Read data from the block (again, should now be what we have written)
  println("Reading data from block %u ...", blockAddr);
  status = RC522_MIFARE_Read(blockAddr, buffer, &size);
  if (status != STAT_OK)
  {
    printf("RC522_MIFARE_Read() failed: ");
    println(RC522_GetStatusCodeName(status));
  }
  println("Data in block %u:", blockAddr);
  DumpByteArrayHEX(buffer, PICC_MEMORY_BLOCK_SIZE);
  println(NULL);

  // Check that data in block is what we have written
  // by counting the number of bytes that are equal
  println("Checking result...");
  size_t count = 0;
  for (size_t i = 0; i < PICC_MEMORY_BLOCK_SIZE; i++)
  {
    // Compare buffer (= what we've read) with dataBlock (= what we've written)
    if (buffer[i] == dataBlock[i])
    {
      count++;
    }
  }
  println("Number of bytes that match = %u", count);
  if (count == PICC_MEMORY_BLOCK_SIZE)
  {
    println("Success :-)");
  }
  else
  {
    println("Failure, no match :-(");
    println("  perhaps the write didn't work properly...");
  }
  println(NULL);

  // Dump the sector data
  println("Current data in sector:");
  RC522_PICC_DumpMifareClassicSectorToSerial(key, sector);
  println(NULL);

  RC522_PICC_HaltA(); // Halt PICC
  RC522_StopCrypto1(); // Stop encryption on PCD
}

void Test9_WritePersonalData(MIFARE_Key *key)
{
  // Look for new cards and select one of the cards
  if (!RC522_PICC_IsNewCardPresent() || !RC522_PICC_ReadCardUid())
  {
    return;
  }
  // Show some details of the PICC (that is: the tag/card)
  printf("Card UID:");
  RC522_PrintUID();
  println(NULL);
  const PICC_Type piccType = RC522_PICC_GetType();
  printf("PICC type: ");
  println(RC522_PICC_GetTypeName(piccType));

  uint8_t buffer[PICC_MEMORY_BLOCK_SIZE] = {0};

  println("Type Family name");
  scanf("%s", buffer);

  uint8_t block = 1;
  StatusCode status = RC522_Authenticate(PICC_CMD_MF_AUTH_KEY_A, block, key);
  if (status != STAT_OK)
  {
    printf("RC522_Authenticate() failed: ");
    println(RC522_GetStatusCodeName(status));
    return;
  }
  println("Authentication success");

  // Write block
  status = RC522_MIFARE_Write(block, buffer, 16);
  if (status != STAT_OK)
  {
    printf("RC522_MIFARE_Write() failed: ");
    println(RC522_GetStatusCodeName(status));
    return;
  }
  println("Family name successfully wrote");

  for (size_t i = 0; i < sizeof(buffer); i++)
  {
    buffer[i] = 0;
  }
  println("Type First name");
  scanf("%s", buffer);

  block = 2;
  status = RC522_Authenticate(PICC_CMD_MF_AUTH_KEY_A, block, key);
  if (status != STAT_OK)
  {
    printf("RC522_Authenticate() failed: ");
    println(RC522_GetStatusCodeName(status));
    return;
  }
  println("Authentication success");

  // Write block
  status = RC522_MIFARE_Write(block, buffer, 16);
  if (status != STAT_OK)
  {
    printf("RC522_MIFARE_Write() failed: ");
    println(RC522_GetStatusCodeName(status));
    return;
  }
  println("First name successfully wrote");
  println(NULL);

  RC522_PICC_HaltA(); // Halt PICC
  RC522_StopCrypto1(); // Stop encryption on PCD
}

void Test10_ReadPersonalData(MIFARE_Key *key)
{
  // Look for new cards and select one of the cards
  if (!RC522_PICC_IsNewCardPresent() || !RC522_PICC_ReadCardUid())
  {
    return;
  }
  println("**Card Detected:**");
  RC522_PICC_DumpDetailsToSerial();

  printf("Name: ");

  // GET FIRST NAME
  uint8_t block = 2;
  StatusCode status = RC522_Authenticate(PICC_CMD_MF_AUTH_KEY_A, block, key);
  if (status != STAT_OK)
  {
    printf("Authentication failed: ");
    println(RC522_GetStatusCodeName(status));
    return;
  }

  uint8_t buffer[18];
  uint8_t len = sizeof(buffer);
  status = RC522_MIFARE_Read(block, buffer, &len);
  if (status != STAT_OK)
  {
    printf("Reading failed: ");
    println(RC522_GetStatusCodeName(status));
    return;
  }

  // PRINT FIRST NAME
  for (size_t i = 0; i < PICC_MEMORY_BLOCK_SIZE; i++)
  {
    if (buffer[i] == '\0')
    {
      break;
    }
    printf("%c", buffer[i]);
  }
  printf(" ");

  // GET LAST NAME
  block = 1;
  status = RC522_Authenticate(PICC_CMD_MF_AUTH_KEY_A, block, key);
  if (status != STAT_OK)
  {
    printf("Authentication failed: ");
    println(RC522_GetStatusCodeName(status));
    return;
  }

  status = RC522_MIFARE_Read(block, buffer, &len);
  if (status != STAT_OK)
  {
    printf("Reading failed: ");
    println(RC522_GetStatusCodeName(status));
    return;
  }

  // PRINT LAST NAME
  for (size_t i = 0; i < PICC_MEMORY_BLOCK_SIZE; i++)
  {
    if (buffer[i] == '\0')
    {
      break;
    }
    printf("%c", buffer[i]);
  }
  println(NULL);
  println("**End Reading**");

  HAL_Delay(1000);

  RC522_PICC_HaltA();
  RC522_StopCrypto1();
}

/* USER CODE END 4 */

void Error_Handler(void)
{
  __disable_irq();
  while (1)
  {
  }
}

#ifdef  USE_FULL_ASSERT
/**
  * @brief  Reports the name of the source file and the source line number
  *         where the assert_param error has occurred.
  * @param  file: pointer to the source file name
  * @param  line: assert_param error line source number
  * @retval None
  */
void assert_failed(uint8_t *file, uint32_t line)
{
  /* USER CODE BEGIN 6 */
  /* User can add his own implementation to report the file name and line number,
     ex: println("Wrong parameters value: file %s on line %d", file, line) */
  /* USER CODE END 6 */
}
#endif /* USE_FULL_ASSERT */
